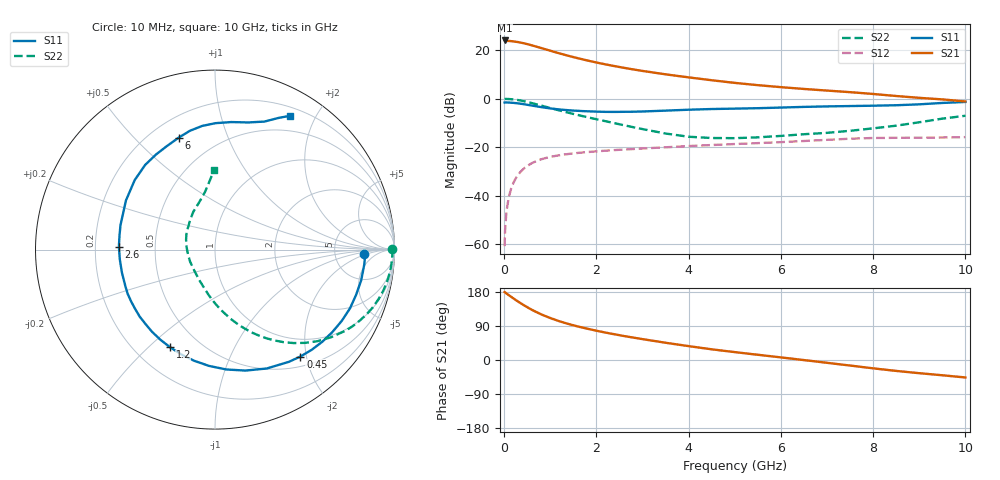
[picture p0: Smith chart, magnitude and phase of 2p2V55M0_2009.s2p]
! (c) 2009  Infineon Technologies AG, Munich
! Infineon Technologies  Discrete & RF Semiconductors
! BFP420
! VCE =  2.5 V,  IC =  5.0 mA
! Common Emitter S-Parameters:  Nov 2009
# GHz  S  MA  R  50
!  f  S11  S21  S12  S22
! GHz  MAG  ANG  MAG  ANG  MAG  ANG  MAG  ANG
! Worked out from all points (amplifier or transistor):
!   46 points, 10 MHz to 10 GHz, reference 50 ohm
!   highest |S21| = 24.0 dB at 10 MHz (marker M1)
!   |S21| within 3 dB of that: start of sweep to 778.9 MHz
!   unconditionally stable (mu >= 1): 3 GHz to end of sweep
!   at 300 MHz: K = 0.10, MSG = 27.4 dB, |S12| = -31.5 dB
!   at 1.7 GHz: K = 0.59, MSG = 19.2 dB, |S12| = -22.2 dB
!   at 10 GHz: K = 1.13, MAG = 5.2 dB, |S12| = -15.9 dB
!   lowest NFmin = 0.66 dB at 900 MHz
!   S11 on the Smith chart (normalised r, x): 10 MHz: 11, -2; 450 MHz: 0.66, -1.89; 1.2 GHz: 0.34, -0.58; 2.6 GHz: 0.30, +0.01; 6 GHz: 0.31, +0.68; 10 GHz: 0.30, +1.67
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0.01  0.8316 -1.8  15.94 179.2  0.0009 102.7  0.9846 0.2
0.02  0.8368 -2.5  15.53 178.3  0.0019 84.9  0.9885 -1.3
0.1  0.8322 -11.9  15.57 171.2  0.0092 83.5  0.9838 -6.9
0.2  0.8203 -23.5  15.26 162.7  0.0182 78.1  0.9653 -13.7
0.25  0.8103 -29.3  14.98 158.4  0.0225 75.0  0.9519 -16.9
0.35  0.7881 -40.6  14.45 150.5  0.0305 69.4  0.9179 -23.2
0.45  0.7623 -51.4  13.76 143.0  0.0376 64.2  0.8776 -29.1
0.6  0.7224 -66.5  12.64 132.5  0.0466 57.4  0.811 -37.0
0.7  0.695 -75.9  11.89 126.4  0.0516 53.5  0.7659 -41.8
0.9  0.6489 -92.9  10.44 115.5  0.0595 47.0  0.6808 -49.9
1.2  0.5988 -114.8  8.619 102.2  0.068 40.0  0.571 -59.9
1.4  0.577 -127.3  7.648 94.9  0.0722 36.5  0.5111 -65.5
1.7  0.554 -143.6  6.493 85.5  0.0774 32.5  0.4365 -72.8
2.2  0.5342 -166.0  5.108 72.3  0.0844 27.6  0.3422 -83.7
2.6  0.5357 178.3  4.332 63.2  0.0891 24.6  0.2826 -92.8
3.5  0.5667 151.1  3.183 45.5  0.0991 19.3  0.1907 -117.5
4.5  0.6116 129.5  2.403 28.2  0.1104 13.8  0.1541 -154.1
5.5  0.6361 114.9  1.902 13.8  0.1209 8.8  0.159 174.8
6  0.6557 108.0  1.73 6.9  0.1267 6.3  0.1703 161.1
7  0.6928 95.9  1.47 -7.4  0.1413 0.1  0.197 139.0
8.5  0.732 75.4  1.136 -28.8  0.1555 -13.4  0.277 108.7
10  0.856 60.6  0.875 -46.1  0.1607 -22.3  0.4439 90.6
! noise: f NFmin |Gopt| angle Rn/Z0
0.9  0.66  0.21  31  0.15
1.8  1.05  0.09  93  0.13
2.4  1.14  0.14  119  0.13
3  1.24  0.17  165  0.11
4  1.41  0.31  -145  0.12
5  1.85  0.38  -119  0.21
6  2.3  0.45  -101  0.36
